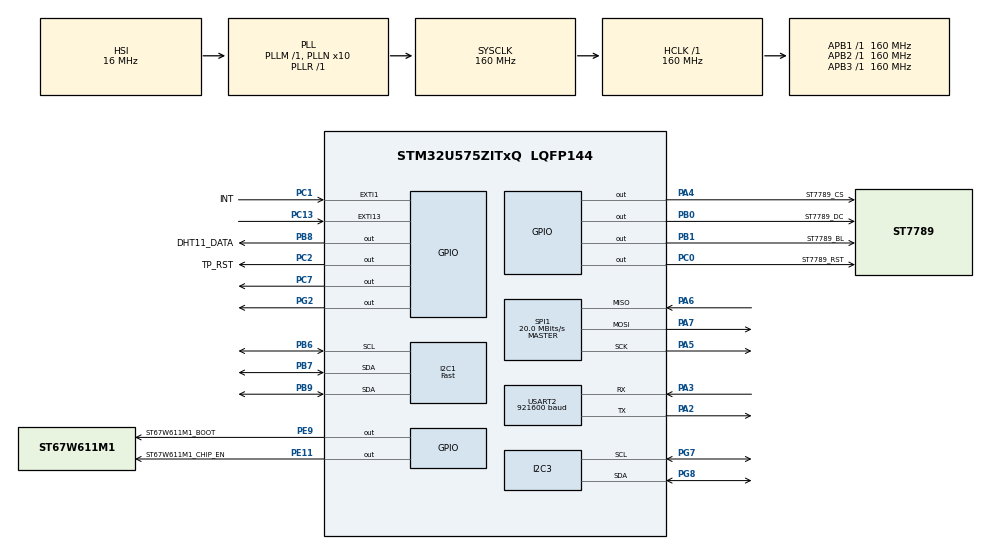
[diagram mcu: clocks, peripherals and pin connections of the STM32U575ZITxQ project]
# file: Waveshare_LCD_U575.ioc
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CORTEX_M33_NS.userName=CORTEX_M33
I2C1.I2C_Speed_Mode=I2C_Fast
I2C1.Timing=0x00F07BFF
I2C3.Timing=0x30909DEC
Mcu.Family=STM32U5
Mcu.Name=STM32U575ZITxQ
Mcu.Package=LQFP144
NUCLEO-U575ZI-Q.BUTTON=1
NUCLEO-U575ZI-Q.LD1=true
NUCLEO-U575ZI-Q.LD2=true
NUCLEO-U575ZI-Q.LD3=true
NUCLEO-U575ZI-Q.VCP=true
NVIC.EXTI13_IRQn=true\:0\:0\:false\:false\:true\:false\:true\:true
NVIC.EXTI1_IRQn=true\:0\:0\:false\:false\:true\:true\:true\:true
NVIC.I2C1_ER_IRQn=true\:0\:0\:false\:false\:true\:true\:true\:true
NVIC.I2C1_EV_IRQn=true\:0\:0\:false\:false\:true\:true\:true\:true
NVIC.PriorityGroup=NVIC_PRIORITYGROUP_3
NVIC.SPI1_IRQn=true\:0\:0\:false\:false\:true\:true\:true\:true
NVIC.TIM17_IRQn=true\:7\:0\:false\:false\:true\:false\:true\:true
NVIC.TimeBase=TIM17_IRQn
NVIC.TimeBaseIP=TIM17
PA10.Signal=USART1_RX
PA13\ (JTMS/SWDIO).Mode=Serial_Wire
PA13\ (JTMS/SWDIO).Signal=DEBUG_JTMS-SWDIO
PA14\ (JTCK/SWCLK).Mode=Serial_Wire
PA14\ (JTCK/SWCLK).Signal=DEBUG_JTCK-SWCLK
PA2.Mode=Asynchronous
PA2.Signal=USART2_TX
PA3.Mode=Asynchronous
PA3.Signal=USART2_RX
PA4.GPIO_Label=ST7789_CS
PA4.GPIO_Speed=GPIO_SPEED_FREQ_VERY_HIGH
PA4.PinState=GPIO_PIN_SET
PA4.Signal=GPIO_Output
PA5.Mode=Full_Duplex_Master
PA5.Signal=SPI1_SCK
PA6.Mode=Full_Duplex_Master
PA6.Signal=SPI1_MISO
PA7.Mode=Full_Duplex_Master
PA7.Signal=SPI1_MOSI
PA9.Signal=USART1_TX
PB0.GPIO_Label=ST7789_DC
PB0.GPIO_Speed=GPIO_SPEED_FREQ_VERY_HIGH
PB0.Signal=GPIO_Output
PB1.GPIO_Label=ST7789_BL
PB1.GPIO_ModeDefaultOutputPP=GPIO_MODE_OUTPUT_PP
PB1.GPIO_Speed=GPIO_SPEED_FREQ_VERY_HIGH
PB1.PinState=GPIO_PIN_SET
PB1.Signal=GPIO_Output
PB3\ (JTDO/TRACESWO).Signal=DEBUG_JTDO-SWO
PB6.Mode=I2C
PB6.Signal=I2C1_SCL
PB7.Mode=I2C
PB7.Signal=I2C1_SDA
PB8.GPIO_Label=DHT11_DATA
PB8.GPIO_PuPd=GPIO_NOPULL
PB8.PinState=GPIO_PIN_SET
PB8.Signal=GPIO_Output
PB9.Mode=I2C
PB9.Signal=I2C1_SDA
PC0.GPIO_Label=ST7789_RST
PC0.GPIO_Speed=GPIO_SPEED_FREQ_VERY_HIGH
PC0.Signal=GPIO_Output
PC1.GPIO_Label=INT
PC1.GPIO_ModeDefaultEXTI=GPIO_MODE_IT_FALLING
PC1.GPIO_PuPd=GPIO_PULLUP
PC1.Signal=GPXTI1
PC13.Signal=GPXTI13
PC14-OSC32_IN\ (PC14).Mode=LSE-External-Oscillator
PC14-OSC32_IN\ (PC14).Signal=RCC_OSC32_IN
PC15-OSC32_OUT\ (PC15).Mode=LSE-External-Oscillator
PC15-OSC32_OUT\ (PC15).Signal=RCC_OSC32_OUT
PC2.GPIO_Label=TP_RST
PC2.GPIO_Speed=GPIO_SPEED_FREQ_VERY_HIGH
PC2.PinState=GPIO_PIN_SET
PC2.Signal=GPIO_Output
PC7.Signal=GPIO_Output
PE11.GPIO_Label=ST67W611M1_CHIP_EN
PE11.Signal=GPIO_Output
PE9.GPIO_Label=ST67W611M1_BOOT
PE9.Signal=GPIO_Output
PG2.Signal=GPIO_Output
PG7.GPIO_Pu=GPIO_PULLUP
PG7.Mode=I2C
PG7.Signal=I2C3_SCL
PG8.GPIO_Pu=GPIO_PULLUP
PG8.Mode=I2C
PG8.Signal=I2C3_SDA
PH0-OSC_IN\ (PH0).Mode=HSE-External-Oscillator
PH0-OSC_IN\ (PH0).Signal=RCC_OSC_IN
PH1-OSC_OUT\ (PH1).Mode=HSE-External-Oscillator
PH1-OSC_OUT\ (PH1).Signal=RCC_OSC_OUT
PWR.PowerMode=PWR_SMPS_SUPPLY
ProjectManager.HeapSize=0x200
ProjectManager.StackSize=0x400
ProjectManager.TargetToolchain=STM32CubeIDE
RCC.ADCFreq_Value=16000000
RCC.AHBFreq_Value=160000000
RCC.APB1Freq_Value=160000000
RCC.APB1TimFreq_Value=160000000
RCC.APB2Freq_Value=160000000
RCC.APB2TimFreq_Value=160000000
RCC.APB3Freq_Value=160000000
RCC.CortexFreq_Value=160000000
RCC.DACCLockSelectionVirtual=RCC_DAC1CLKSOURCE_LSI
RCC.EPOD_VALUE=16000000
RCC.HCLKFreq_Value=160000000
RCC.HSE_VALUE=16000000
RCC.HSI48_VALUE=48000000
RCC.HSI_VALUE=16000000
RCC.LSIDIV_VALUE=32000
RCC.MSIClockRange=RCC_MSIRANGE_0
RCC.MSI_VALUE=48000000
RCC.PLL1R=1
RCC.PLL2FRACN=0
RCC.PLL2Source=RCC_PLLSOURCE_HSI
RCC.PLL3FRACN=0
RCC.PLLFRACN=0
RCC.PLLN=10
RCC.PLLSourceVirtual=RCC_PLLSOURCE_HSI
RCC.SYSCLKFreq_VALUE=160000000
RCC.SYSCLKSource=RCC_SYSCLKSOURCE_PLLCLK
RCC.USBFreq_Value=48000000
RCC.VCOOutputFreq_Value=160000000
SPI1.BaudRatePrescaler=SPI_BAUDRATEPRESCALER_8
SPI1.CLKPhase=SPI_PHASE_2EDGE
SPI1.CLKPolarity=SPI_POLARITY_HIGH
SPI1.CalculateBaudRate=20.0 MBits/s
SPI1.DataSize=SPI_DATASIZE_8BIT
SPI1.Direction=SPI_DIRECTION_2LINES
SPI1.Mode=SPI_MODE_MASTER
SPI1.VirtualType=VM_MASTER
TIM2.PeriodNoDither=65535
TIM2.Prescaler=159
USART2.BaudRate=921600
USART2.VirtualMode-Asynchronous=VM_ASYNC
VP_ICACHE_VS_ENABLE_ICACHE_MEMORY.Mode=Memoryregions
VP_ICACHE_VS_ICACHE.Mode=DirectMappedCache
VP_LPBAMQUEUE_VS_QUEUE.Mode=QUEUEMODE
VP_LPBAM_VS_SIG1.Mode=SmartRun
VP_LPBAM_VS_SIG4.Mode=LPDMA1
VP_MEMORYMAP_VS_MEMORYMAP.Mode=CurAppReg
VP_NUCLEO-U575ZI-Q_VS_BSP_COMMON.Mode=COMMON
VP_PWR_VS_DBSignals.Mode=DisableDeadBatterySignals
VP_PWR_VS_LPOM.Mode=PowerOptimisation
VP_PWR_VS_SECSignals.Mode=Security/Privilege
VP_SYS_VS_tim17.Mode=TIM17
VP_TIM2_VS_ClockSourceINT.Mode=Internal
board=NUCLEO-U575ZI-Q

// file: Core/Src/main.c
/* USER CODE BEGIN Header */
/**
  ******************************************************************************
  * @file           : main.c
  * @brief          : Main program body
  ******************************************************************************
  * @attention
  *
  * Copyright (c) 2024 STMicroelectronics.
  * All rights reserved.
  *
  * This software is licensed under terms that can be found in the LICENSE file
  * in the root directory of this software component.
  * If no LICENSE file comes with this software, it is provided AS-IS.
  *
  ******************************************************************************
  */
/* USER CODE END Header */
#include "main.h"
#include "i2c.h"
#include "icache.h"
#include "spi.h"
#include "tim.h"
#include "usart.h"
#include "gpio.h"

/* USER CODE BEGIN Includes */
#include "bme69x.h"      // BME69x driver definitions
#include "bme69x_defs.h" // IMPORTANT: Explicitly include for BME69X_VALID_MSK definitions (or similar macros)
#include "bme69x_user.h" // User-defined BME69x interface functions and handle
#include "ST7789.h"      // Your ST7789 LCD driver header
#include "fonts.h"       // Your font definitions (e.g., Font16)
#include <stdio.h>       // For sprintf/snprintf and printf for debugging
#include <string.h>      // For strlen
#include "stm32u5xx_hal.h" // Include for HAL functions, often needed by SystemClock_Config
/* USER CODE END Includes */

/* USER CODE BEGIN PD */
#define BME69X_I2C_ADDR_PRIM 0x76	// Define BME69x I2C address (7-bit address)
#define LCD_LINE_MAX_LEN 40		    // Increased for longer messages like error codes

/* USER CODE END PD */

COM_InitTypeDef BspCOMInit;

/* USER CODE BEGIN PV */
struct bme69x_dev bme69x_sensor;
struct bme69x_data bme69x_data;
struct bme69x_conf bme69x_conf;         		 // Separate structure for TPH configuration
struct bme69x_heatr_conf heatr_config;  		 // Separate structure for gas heater configuration

bme69x_i2c_user_handle_t bme69x_i2c_user_handle; // User-defined I2C handle for BME69x
char lcd_buffer[LCD_LINE_MAX_LEN + 1]; 			 // Buffer for LCD display

extern SPI_HandleTypeDef hspi1;					 // Assume your main SPI handle for the LCD is hspi1. Adjust if different.

static uint8_t current_lcd_row = 0;				 // Global variable to keep track of the current line for printing

const sFONT* current_font = &Font20; 			 // Using Font16 as a default, from fonts.h.

/* USER CODE END PV */

void SystemClock_Config(void);
static void SystemPower_Config(void);
/* USER CODE BEGIN PFP */
void LCD_Init(void);								// Initialise LCD display
void LCD_Clear(void);								// Clear the display
void LCD_SetCursor(uint8_t row, uint8_t col);		// Set the position of the cursor
void LCD_PrintString(const char *str);				// Print on the screen the value from str

/* USER CODE END PFP */

/* USER CODE BEGIN 0 */

void LCD_Init(void)
{
    ST7789_Init(&hspi1);							// Initialize your ST7789 LCD using its dedicated function

    ST7789_SetRotation(0);							// ST7789_SetRotation takes uint8_t 0,1,2,3 for 0,90,180,270 degrees.

    LCD_Clear();									// Call to LCD_Clear
    printf("ST7789 LCD Initialized!\r\n");
    current_lcd_row = 0;							// Reset line counter on init
}

void LCD_Clear(void)
{
    ST7789_FillScreen(ST7789_BLUE);					// Clear the screen and fill it with black
    current_lcd_row = 0;							// Reset row counter when screen is cleared
}

void LCD_SetCursor(uint8_t row, uint8_t col)
{
    if (row * current_font->Height < ST7789_HEIGHT)	// For graphical LCDs like ST7789, a "cursor" is often managed by the drawing functions.
    {												// We'll update our internal `current_lcd_row` for `LCD_PrintString`.
        current_lcd_row = row;
    }
    (void)col;										// Suppress unused parameter warning
}

void LCD_PrintString(const char *str)
{
    uint16_t y_pos = current_lcd_row * current_font->Height;	// Calculate the Y position for the current line based on font height
    uint16_t x_pos = 0;											// Start printing from the left edge

    if (y_pos >= ST7789_HEIGHT)									// Ensure we don't write outside the screen height
    {
        current_lcd_row = 0;									// If we exceed screen height, wrap around to the top and clear
        y_pos = 0;
        LCD_Clear();
    }

    ST7789_WriteString(x_pos, y_pos, (char*)str, current_font, ST7789_WHITE, ST7789_BLUE);		// Text colour WHITE, background BLACK

    current_lcd_row++;																			// Move to the next line for the next print

    printf("LCD_PrintString: %s\r\n", str);														// For serial debugging
}

/* USER CODE END 0 */

int main(void)
{

  /* USER CODE BEGIN 1 */
  int8_t rslt;
  uint32_t meas_period_us;							// Measurement period in microseconds
  uint8_t n_fields;									// Variable to store number of fields from get_data

  /* USER CODE END 1 */

  /* MCU Configuration--------------------------------------------------------*/

  /* Reset of all peripherals, Initializes the Flash interface and the Systick. */
  HAL_Init();

  /* Configure the System Power */
  SystemPower_Config();

  /* Configure the system clock */
  SystemClock_Config();

  /* Initialize all configured peripherals */
  MX_GPIO_Init();
  MX_ICACHE_Init();
  MX_SPI1_Init();
  MX_TIM2_Init();
  MX_I2C1_Init();
  MX_I2C3_Init();
  MX_USART2_UART_Init();
  /* USER CODE BEGIN 2 */
  LCD_Init();													// This will call ST7789_Init() internally

  bme69x_i2c_user_handle.hi2c = &hi2c3;							// Initialize user-defined I2C handle for BME690
  bme69x_i2c_user_handle.i2c_addr = BME69X_I2C_ADDR_PRIM;

  bme69x_sensor.intf_ptr = &bme69x_i2c_user_handle;				// Assign BME69x sensor structure parameters (using the functions from bme69x_user.c)
  bme69x_sensor.read = bme69x_i2c_read;
  bme69x_sensor.write = bme69x_i2c_write;
  bme69x_sensor.delay_us = bme69x_delay_us;
  bme69x_sensor.intf = BME69X_I2C_INTF;

  /*   Initialize BME69x sensor   */
  rslt = bme69x_init(&bme69x_sensor);
  if (rslt != BME69X_OK)
  {
      printf("BME69X Init Failed: %d\r\n", rslt);
      snprintf(lcd_buffer, LCD_LINE_MAX_LEN + 1, "BME69X Init Fail: %d", rslt);		// Display error on LCD
      LCD_SetCursor(0, 0);
      LCD_PrintString(lcd_buffer);
      Error_Handler();
  }
  else
  {
      printf("BME69X Init Success!\r\n");
      snprintf(lcd_buffer, LCD_LINE_MAX_LEN + 1, "BME69X Init OK");					// Display success on LCD
      LCD_SetCursor(3, 1);
      LCD_PrintString(lcd_buffer);
      HAL_Delay(500);																// Small delay to show init message
  }

  /*   TPH Sensor configuration for bme69x_conf (separate struct)   */
  bme69x_conf.os_hum = BME69X_OS_2X;
  bme69x_conf.os_pres = BME69X_OS_16X;
  bme69x_conf.os_temp = BME69X_OS_4X;
  bme69x_conf.filter = BME69X_FILTER_SIZE_3;
  bme69x_conf.odr = BME69X_ODR_500_MS;												// Output Data Rate

  /*   Set the TPH sensor configuration   */
  rslt = bme69x_set_conf(&bme69x_conf, &bme69x_sensor);
  if (rslt != BME69X_OK)
  {
      printf("BME69X Set TPH Settings Failed: %d\r\n", rslt);
      snprintf(lcd_buffer, LCD_LINE_MAX_LEN + 1, "BME69X TPH Conf Fail: %d", rslt);	// Display error on LCD
      LCD_SetCursor(1, 0);
      LCD_PrintString(lcd_buffer);
      Error_Handler();
  }

  /*   Populate the bme69x_heatr_conf struct   */
  heatr_config.heatr_temp = 320;													// Degree Celsius
  heatr_config.heatr_dur = 150;														// Millisecond
  heatr_config.enable = BME69X_ENABLE_GAS_MEAS;										// Assuming 'enable' is the field name for running gas

  /*   Call bme69x_set_heatr_conf with the correct arguments: op_mode, pointer to heatr_config, and device pointer   */
  rslt = bme69x_set_heatr_conf(BME69X_FORCED_MODE, &heatr_config, &bme69x_sensor);
  if (rslt != BME69X_OK)
  {
      printf("BME69X Set Heater Config Failed: %d\r\n", rslt);
      snprintf(lcd_buffer, LCD_LINE_MAX_LEN + 1, "BME69X Heater Fail: %d", rslt);	// Display error on LCD
      LCD_SetCursor(2, 0);
      LCD_PrintString(lcd_buffer);
      Error_Handler();
  }

  /*   Set the power mode to forced mode   */
  rslt = bme69x_set_op_mode(BME69X_FORCED_MODE, &bme69x_sensor);
  if (rslt != BME69X_OK)
  {
      printf("BME69X Set Op Mode Failed: %d\r\n", rslt);
      snprintf(lcd_buffer, LCD_LINE_MAX_LEN + 1, "BME69X Mode Fail: %d", rslt);		// Display error on LCD
      LCD_SetCursor(3, 0);
      LCD_PrintString(lcd_buffer);
      Error_Handler();
  }

  /*   Get the recommended measurement period for forced mode in microseconds   */
  meas_period_us = bme69x_get_meas_dur(BME69X_FORCED_MODE, &bme69x_conf, &bme69x_sensor) * 1000;

  LCD_Clear(); 																		// Clear display before starting main loop measurements

  /* USER CODE END 2 */

  /* Initialize leds */
  BSP_LED_Init(LED_GREEN);
  BSP_LED_Init(LED_BLUE);
  BSP_LED_Init(LED_RED);

  /* Initialize USER push-button, will be used to trigger an interrupt each time it's pressed.*/
  BSP_PB_Init(BUTTON_USER, BUTTON_MODE_EXTI);

  /* Initialize COM1 port (115200, 8 bits (7-bit data + 1 stop bit), no parity */
  BspCOMInit.BaudRate   = 115200;
  BspCOMInit.WordLength = COM_WORDLENGTH_8B;
  BspCOMInit.StopBits   = COM_STOPBITS_1;
  BspCOMInit.Parity     = COM_PARITY_NONE;
  BspCOMInit.HwFlowCtl  = COM_HWCONTROL_NONE;
  if (BSP_COM_Init(COM1, &BspCOMInit) != BSP_ERROR_NONE)
  {
    Error_Handler();
  }

  /* Infinite loop */
  while (1)
  {

    /* USER CODE BEGIN 3 */
    bme69x_delay_us(meas_period_us, bme69x_sensor.intf_ptr);								// Delay for the measurement to complete

    rslt = bme69x_set_op_mode(BME69X_FORCED_MODE, &bme69x_sensor);							// Set sensor to forced mode again before reading
    if (rslt != BME69X_OK)
    {
        printf("BME69X Set Op Mode Failed (loop start): %d\r\n", rslt);
        snprintf(lcd_buffer, LCD_LINE_MAX_LEN + 1, "Mode Err (loop): %d", rslt);
        LCD_SetCursor(0, 0);
        LCD_PrintString(lcd_buffer);
        HAL_Delay(2000); // Wait before retrying
        continue; // Skip data read if mode setting failed
    }

    rslt = bme69x_get_data(BME69X_FORCED_MODE, &bme69x_data, &n_fields, &bme69x_sensor);	// Get sensor data. The 'n_fields' parameter is still required.

    LCD_Clear(); // Clear LCD before printing new data in each loop iteration

    if (rslt == BME69X_OK)
    {
        // Removed specific validity mask checks, as they are undeclared.
        // Data is displayed if the overall read was successful.
        // The BME69X_GASM_VALID_MSK check is retained as it appeared to be declared.

        // Print Temperature
        snprintf(lcd_buffer, LCD_LINE_MAX_LEN + 1, "Temp: %.2f C", bme69x_data.temperature);
        LCD_SetCursor(3, 0); // Row 0, Col 0
        LCD_PrintString(lcd_buffer);
        printf("%s\r\n", lcd_buffer); // For serial debugging

        // Print Humidity
        snprintf(lcd_buffer, LCD_LINE_MAX_LEN + 1, "Hum : %.2f %%RH", bme69x_data.humidity);
        LCD_SetCursor(4, 0); // Row 1, Col 0
        LCD_PrintString(lcd_buffer);
        printf("%s\r\n", lcd_buffer);

        // Print Pressure
        snprintf(lcd_buffer, LCD_LINE_MAX_LEN + 1, "Pres: %.2f hPa", bme69x_data.pressure / 100);
        LCD_SetCursor(5, 0); // Row 2, Col 0
        LCD_PrintString(lcd_buffer);
        printf("%s\r\n", lcd_buffer);

        // Print Gas Resistance (keeping this check as BME69X_GASM_VALID_MSK seemed defined)
        if (bme69x_data.status & BME69X_GASM_VALID_MSK)
        {
            snprintf(lcd_buffer, LCD_LINE_MAX_LEN + 1, "Gas : %lu Ohm", (long unsigned int)bme69x_data.gas_resistance);
            LCD_SetCursor(6, 0); // Row 3, Col 0
            LCD_PrintString(lcd_buffer);
            printf("%s\r\n", lcd_buffer);
        } else {
             snprintf(lcd_buffer, LCD_LINE_MAX_LEN + 1, "Gas : N/A"); // No gas measurement or invalid
             LCD_SetCursor(6, 0);
             LCD_PrintString(lcd_buffer);
             printf("%s\r\n", lcd_buffer);
        }
    }
    else
    {
        printf("BME69X Get Data Failed: %d\r\n", rslt);
        snprintf(lcd_buffer, LCD_LINE_MAX_LEN + 1, "BME69X Data Error: %d", rslt);
        LCD_SetCursor(0, 0);
        LCD_PrintString(lcd_buffer);
    }

    HAL_Delay(500); 												// Delay for 0.5 seconds before next measurement cycle
  }
  /* USER CODE END 3 */
}

void SystemClock_Config(void)
{
  RCC_OscInitTypeDef RCC_OscInitStruct = {0};
  RCC_ClkInitTypeDef RCC_ClkInitStruct = {0};

  /** Configure the main internal regulator output voltage
  */
  if (HAL_PWREx_ControlVoltageScaling(PWR_REGULATOR_VOLTAGE_SCALE1) != HAL_OK)
  {
    Error_Handler();
  }

  /** Initializes the CPU, AHB and APB buses clocks
  */
  RCC_OscInitStruct.OscillatorType = RCC_OSCILLATORTYPE_HSI;
  RCC_OscInitStruct.HSIState = RCC_HSI_ON;
  RCC_OscInitStruct.HSICalibrationValue = RCC_HSICALIBRATION_DEFAULT;
  RCC_OscInitStruct.PLL.PLLState = RCC_PLL_ON;
  RCC_OscInitStruct.PLL.PLLSource = RCC_PLLSOURCE_HSI;
  RCC_OscInitStruct.PLL.PLLMBOOST = RCC_PLLMBOOST_DIV1;
  RCC_OscInitStruct.PLL.PLLM = 1;
  RCC_OscInitStruct.PLL.PLLN = 10;
  RCC_OscInitStruct.PLL.PLLP = 2;
  RCC_OscInitStruct.PLL.PLLQ = 2;
  RCC_OscInitStruct.PLL.PLLR = 1;
  RCC_OscInitStruct.PLL.PLLRGE = RCC_PLLVCIRANGE_1;
  RCC_OscInitStruct.PLL.PLLFRACN = 0;
  if (HAL_RCC_OscConfig(&RCC_OscInitStruct) != HAL_OK)
  {
    Error_Handler();
  }

  /** Initializes the CPU, AHB and APB buses clocks
  */
  RCC_ClkInitStruct.ClockType = RCC_CLOCKTYPE_HCLK|RCC_CLOCKTYPE_SYSCLK
                              |RCC_CLOCKTYPE_PCLK1|RCC_CLOCKTYPE_PCLK2
                              |RCC_CLOCKTYPE_PCLK3;
  RCC_ClkInitStruct.SYSCLKSource = RCC_SYSCLKSOURCE_PLLCLK;
  RCC_ClkInitStruct.AHBCLKDivider = RCC_SYSCLK_DIV1;
  RCC_ClkInitStruct.APB1CLKDivider = RCC_HCLK_DIV1;
  RCC_ClkInitStruct.APB2CLKDivider = RCC_HCLK_DIV1;
  RCC_ClkInitStruct.APB3CLKDivider = RCC_HCLK_DIV1;

  if (HAL_RCC_ClockConfig(&RCC_ClkInitStruct, FLASH_LATENCY_4) != HAL_OK)
  {
    Error_Handler();
  }
}

/**
  * @brief Power Configuration
  * @retval None
  */
static void SystemPower_Config(void)
{
  HAL_PWREx_EnableVddIO2();

  /*
   * Disable the internal Pull-Up in Dead Battery pins of UCPD peripheral
   */
  HAL_PWREx_DisableUCPDDeadBattery();

  /*
   * Switch to SMPS regulator instead of LDO
   */
  if (HAL_PWREx_ConfigSupply(PWR_SMPS_SUPPLY) != HAL_OK)
  {
    Error_Handler();
  }
}

void HAL_TIM_PeriodElapsedCallback(TIM_HandleTypeDef *htim)
{
  if (htim->Instance == TIM17)
  {
    HAL_IncTick();
  }
}

void Error_Handler(void)
{
  /* USER CODE BEGIN Error_Handler_Debug */
  /* User can add his own implementation to report the HAL error return state */
  __disable_irq();
  while (1)
  {
    // Optionally, toggle an LED to indicate error
    // HAL_GPIO_TogglePin(LD2_GPIO_Port, LD2_Pin);
    // HAL_Delay(100);
  }
  /* USER CODE END Error_Handler_Debug */
}
